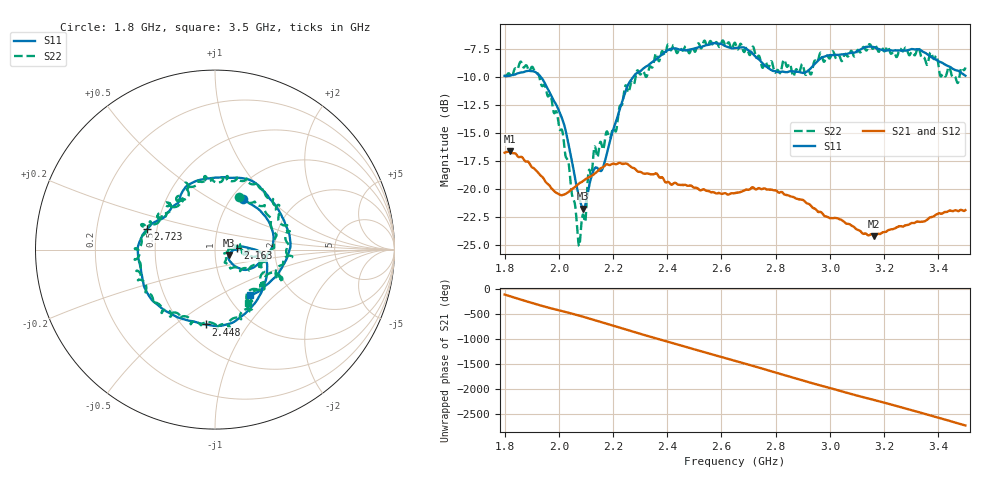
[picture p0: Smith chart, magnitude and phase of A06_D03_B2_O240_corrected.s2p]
! Created with skrf 1.9.0 (http://scikit-rf.org).
# Hz S RI R 50.0
!freq ReS11 ImS11 ReS21 ImS21 ReS12 ImS12 ReS22 ImS22
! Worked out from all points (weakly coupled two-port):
!   1601 points, 1.8 GHz to 3.5 GHz, reference 50 ohm
!   highest |S21| = -16.64 dB at 1.818 GHz (marker M1); lowest = -24.2 dB at 3.163 GHz (marker M2)
!   lowest |S11| = -21.8 dB at 2.09 GHz (marker M3), VSWR 1.18, Z = 58.1 - j3.43 ohm
!   |S11| at or under -10 dB: 1.935 GHz to 2.273 GHz (338.7 MHz wide, 16.1 % of centre)
!   |S22| runs from -25.1 to -6.7 dB; largest |S21 - S12| = 0.0025
!   S11 on the Smith chart (normalised r, x): 1.8 GHz: 1.13, +0.71; 2.163 GHz: 1.29, +0.02; 2.448 GHz: 0.64, -0.65; 2.723 GHz: 0.44, +0.12; 3.5 GHz: 1.26, -0.72
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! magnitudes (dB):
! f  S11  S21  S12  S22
! 1.8 GHz  -9.9  -16.7  -16.7  -9.8
! 1.818 GHz  -9.9  -16.6  -16.7  -9.7
! 1.903 GHz  -9.5  -18.1  -18.1  -9.1
! 1.968 GHz  -11.5  -19.8  -19.8  -11.5
! 2.015 GHz  -13.9  -20.5  -20.6  -15.0
! 2.072 GHz  -20.4  -19.6  -19.6  -24.8
! 2.084 GHz  -21.5  -19.4  -19.3  -23.0
! 2.09 GHz  -21.8  -19.3  -19.3  -22.3
! 2.13 GHz  -18.2  -18.7  -18.7  -16.3
! 2.163 GHz  -18.0  -18.0  -18.0  -16.5
! 2.258 GHz  -10.5  -17.9  -17.8  -11.3
! 2.367 GHz  -8.2  -18.8  -18.8  -8.5
! 2.448 GHz  -7.5  -19.6  -19.6  -7.4
! 2.65 GHz  -7.4  -20.4  -20.3  -6.9
! 2.723 GHz  -8.1  -20.0  -19.9  -7.8
! 2.802 GHz  -9.5  -20.1  -20.2  -9.5
! 2.934 GHz  -9.1  -21.6  -21.6  -9.5
! 3.163 GHz  -7.3  -24.2  -24.1  -7.3
! 3.217 GHz  -7.6  -23.7  -23.6  -7.4
! 3.376 GHz  -8.2  -22.5  -22.5  -7.9
! 3.468 GHz  -9.4  -21.9  -21.9  -10.4
! 3.5 GHz  -9.9  -21.9  -21.9  -9.1
